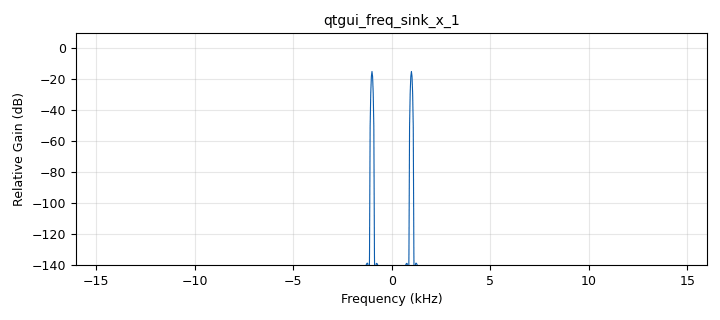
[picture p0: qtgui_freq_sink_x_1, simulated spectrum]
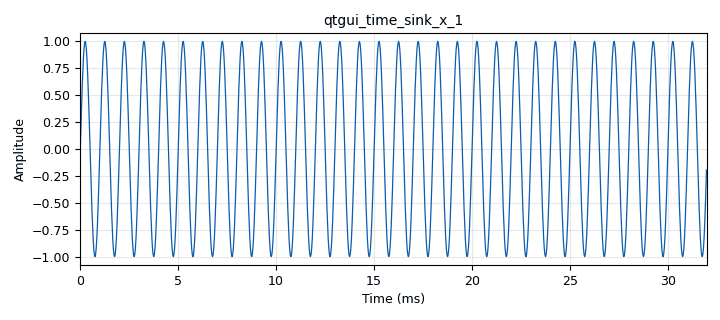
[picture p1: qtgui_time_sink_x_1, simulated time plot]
options:
  parameters:
    author: Edwar_Camargo_Andres_Tarazona
    copyright: Edwar_Camargo_Andres_Tarazona
    generate_options: qt_gui
    id: PruebaCalculoPotencia_L1B
    output_language: python
    title: pCalculoPotencia_L1B
  states: {}

blocks:
- name: A
  id: variable_qtgui_range
  parameters:
    label: Amplitud
    orient: Qt.Horizontal
    start: '0'
    step: '1'
    stop: '10'
    value: '1'
  states: {}
- name: samp_rate
  id: variable
  parameters:
    value: '32000'
  states: {}
- name: CalculoPotenciaL1BG5_0
  id: CalculoPotenciaL1BG5
  parameters:
    l_vect: '1024'
  states: {}
- name: analog_sig_source_x_0
  id: analog_sig_source_x
  parameters:
    amp: A
    freq: '1000'
    offset: '0'
    phase: '0'
    samp_rate: samp_rate
    type: float
    waveform: analog.GR_SIN_WAVE
  states: {}
- name: qtgui_freq_sink_x_0
  id: qtgui_freq_sink_x
  parameters:
    bw: samp_rate
    fc: '0'
    fftsize: '1024'
    type: float
    wintype: firdes.WIN_BLACKMAN_hARRIS
  states: {state: disabled}
- name: qtgui_freq_sink_x_1
  id: qtgui_freq_sink_x
  parameters:
    bw: samp_rate
    fc: '0'
    fftsize: '1024'
    type: float
    wintype: firdes.WIN_BLACKMAN_hARRIS
  states: {}
- name: qtgui_time_sink_x_0
  id: qtgui_time_sink_x
  parameters:
    size: '1024'
    srate: samp_rate
    type: float
  states: {state: disabled}
- name: qtgui_time_sink_x_1
  id: qtgui_time_sink_x
  parameters:
    size: '1024'
    srate: samp_rate
    type: float
  states: {}

connections:
- [analog_sig_source_x_0, '0', CalculoPotenciaL1BG5_0, '0']
- [analog_sig_source_x_0, '0', qtgui_freq_sink_x_0, '0']
- [analog_sig_source_x_0, '0', qtgui_freq_sink_x_1, '0']
- [analog_sig_source_x_0, '0', qtgui_time_sink_x_0, '0']
- [analog_sig_source_x_0, '0', qtgui_time_sink_x_1, '0']

metadata:
  file_format: 1
